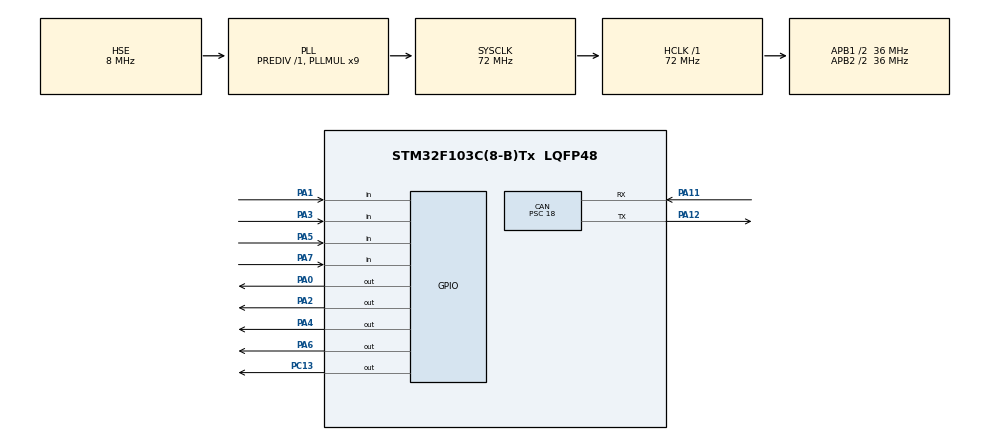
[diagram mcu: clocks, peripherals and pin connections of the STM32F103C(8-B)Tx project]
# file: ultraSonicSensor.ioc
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CAN.BS1=CAN_BS1_2TQ
CAN.CalculateBaudRate=500000
CAN.CalculateTimeBit=2000
CAN.CalculateTimeQuantum=500.0
CAN.Prescaler=18
Mcu.Family=STM32F1
Mcu.Name=STM32F103C(8-B)Tx
Mcu.Package=LQFP48
NVIC.CAN1_RX1_IRQn=true\:0\:0\:false\:false\:true\:true\:true\:true
NVIC.PriorityGroup=NVIC_PRIORITYGROUP_4
NVIC.USB_LP_CAN1_RX0_IRQn=true\:0\:0\:false\:false\:true\:true\:true\:true
PA0-WKUP.GPIO_PuPd=GPIO_NOPULL
PA0-WKUP.GPIO_Speed=GPIO_SPEED_FREQ_HIGH
PA0-WKUP.Signal=GPIO_Output
PA1.GPIO_PuPd=GPIO_NOPULL
PA1.Signal=GPIO_Input
PA11.Mode=CAN_Activate
PA11.Signal=CAN_RX
PA12.Mode=CAN_Activate
PA12.Signal=CAN_TX
PA13.Mode=Serial_Wire
PA13.Signal=SYS_JTMS-SWDIO
PA14.Mode=Serial_Wire
PA14.Signal=SYS_JTCK-SWCLK
PA2.GPIO_Speed=GPIO_SPEED_FREQ_HIGH
PA2.Signal=GPIO_Output
PA3.Signal=GPIO_Input
PA4.GPIO_Speed=GPIO_SPEED_FREQ_HIGH
PA4.Signal=GPIO_Output
PA5.Signal=GPIO_Input
PA6.GPIO_Speed=GPIO_SPEED_FREQ_HIGH
PA6.Signal=GPIO_Output
PA7.Signal=GPIO_Input
PC13-TAMPER-RTC.GPIO_PuPd=GPIO_PULLDOWN
PC13-TAMPER-RTC.Signal=GPIO_Output
PC14-OSC32_IN.Mode=LSE-External-Oscillator
PC14-OSC32_IN.Signal=RCC_OSC32_IN
PC15-OSC32_OUT.Mode=LSE-External-Oscillator
PC15-OSC32_OUT.Signal=RCC_OSC32_OUT
PD0-OSC_IN.Mode=HSE-External-Oscillator
PD0-OSC_IN.Signal=RCC_OSC_IN
PD1-OSC_OUT.Mode=HSE-External-Oscillator
PD1-OSC_OUT.Signal=RCC_OSC_OUT
ProjectManager.HeapSize=0x200
ProjectManager.StackSize=0x400
ProjectManager.TargetToolchain=MDK-ARM V5.32
RCC.AHBFreq_Value=72000000
RCC.APB1CLKDivider=RCC_HCLK_DIV2
RCC.APB1Freq_Value=36000000
RCC.APB1TimFreq_Value=72000000
RCC.APB2CLKDivider=RCC_HCLK_DIV2
RCC.APB2Freq_Value=36000000
RCC.APB2TimFreq_Value=72000000
RCC.HCLKFreq_Value=72000000
RCC.PLLMUL=RCC_PLL_MUL9
RCC.PLLSourceVirtual=RCC_PLLSOURCE_HSE
RCC.SYSCLKFreq_VALUE=72000000
RCC.SYSCLKSource=RCC_SYSCLKSOURCE_PLLCLK
RCC.USBFreq_Value=72000000
TIM1.Prescaler=71
VP_TIM1_VS_ClockSourceINT.Mode=Internal
board=custom

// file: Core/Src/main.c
/* USER CODE BEGIN Header */
/**
  ******************************************************************************
  * @file           : main.c
  * @brief          : Main program body
  ******************************************************************************
  * @attention
  *
  * Copyright (c) 2023 STMicroelectronics.
  * All rights reserved.
  *
  * This software is licensed under terms that can be found in the LICENSE file
  * in the root directory of this software component.
  * If no LICENSE file comes with this software, it is provided AS-IS.
  *
  ******************************************************************************
  */
/* USER CODE END Header */
#include "main.h"

/* USER CODE BEGIN Includes */
#include "SR04.h"
#include "convert_lib.h"
/* USER CODE END Includes */

/* USER CODE BEGIN PTD */
SR04_Name SR04_1;
SR04_Name SR04_2;
SR04_Name SR04_3;
SR04_Name SR04_4;
/* USER CODE END PTD */

/* USER CODE BEGIN PD */
#define MASTER_ID      			0x281
#define BACK_WHEEL_ID   		0x012
#define FRONT_WHEEL_ID   		0x274
#define BRAKE_ID      			0x222
#define ULTRASONIC_ID       0x112
/* USER CODE END PD */

CAN_HandleTypeDef hcan;

TIM_HandleTypeDef htim1;

/* USER CODE BEGIN PV */
// CAN protocol variable
CAN_HandleTypeDef     CanHandle;
CAN_TxHeaderTypeDef   TxHeader;
CAN_RxHeaderTypeDef   RxHeader;
uint8_t               TxData[8];
uint8_t               RxData[8];
uint32_t              TxMailbox;

// DETECT VARIABLE

/* USER CODE END PV */

void SystemClock_Config(void);
static void MX_GPIO_Init(void);
static void MX_TIM1_Init(void);
static void MX_CAN_Init(void);
/* USER CODE BEGIN PFP */
void WriteCAN(uint16_t ID,uint8_t *data);
void HAL_CAN_RxFifo0MsgPendingCallback(CAN_HandleTypeDef *hcan);
/* USER CODE END PFP */

int main(void)
{

  /* MCU Configuration--------------------------------------------------------*/

  /* Reset of all peripherals, Initializes the Flash interface and the Systick. */
  HAL_Init();

  /* Configure the system clock */
  SystemClock_Config();

  /* Initialize all configured peripherals */
  MX_GPIO_Init();
  MX_TIM1_Init();
  MX_CAN_Init();
  /* USER CODE BEGIN 2 */
	Init_SR04x(&SR04_1,&htim1,TIM1, GPIOA, GPIO_PIN_0, GPIOA, GPIO_PIN_1);
	Init_SR04x(&SR04_2,&htim1,TIM1, GPIOA, GPIO_PIN_2, GPIOA, GPIO_PIN_3);
	Init_SR04x(&SR04_3,&htim1,TIM1, GPIOA, GPIO_PIN_4, GPIOA, GPIO_PIN_5);
	Init_SR04x(&SR04_4,&htim1,TIM1, GPIOA, GPIO_PIN_6, GPIOA, GPIO_PIN_7);

	HAL_CAN_Start(&hcan);
	HAL_CAN_ActivateNotification(&hcan, CAN_IT_RX_FIFO0_MSG_PENDING);

  TxHeader.DLC = 8;
  TxHeader.ExtId = 0;
  TxHeader.IDE = CAN_ID_STD;
  TxHeader.RTR = CAN_RTR_DATA;
  TxHeader.TransmitGlobalTime = DISABLE;

  /* USER CODE END 2 */

  /* Infinite loop */
  /* USER CODE BEGIN WHILE */
  while (1)
  {
		// doc 2 cam bien ben trai
		uint16_t left = readDistance(&SR04_1, 5);// doc cam ben ngoai cung ben trai
		uint16_t leftCenter = readDistance(&SR04_2, 5);// doc cam bien o giua ben trai
		convertUint16_tTo8byte(left, TxData, 6, 7);
		convertUint16_tTo8byte(leftCenter, TxData, 4, 5);
		TxData[3] = 'L';
		WriteCAN(MASTER_ID, TxData);//gui du lieu len Controller

		// doc 2 cam bien ben phai
		uint16_t right = readDistance(&SR04_3, 5);//doc cam bien ngoai cung ben phai
		uint16_t rightCenter = readDistance(&SR04_4, 5);// doc cam bien o giua ben phai
		convertUint16_tTo8byte(right, TxData, 6, 7);
		convertUint16_tTo8byte(rightCenter, TxData, 4, 5);
		TxData[3] = 'R';
		WriteCAN(MASTER_ID, TxData);//gui du lieu len Controller

    /* USER CODE END WHILE */

  }
}

void SystemClock_Config(void)
{
  RCC_OscInitTypeDef RCC_OscInitStruct = {0};
  RCC_ClkInitTypeDef RCC_ClkInitStruct = {0};

  /** Initializes the RCC Oscillators according to the specified parameters
  * in the RCC_OscInitTypeDef structure.
  */
  RCC_OscInitStruct.OscillatorType = RCC_OSCILLATORTYPE_HSE;
  RCC_OscInitStruct.HSEState = RCC_HSE_ON;
  RCC_OscInitStruct.HSEPredivValue = RCC_HSE_PREDIV_DIV1;
  RCC_OscInitStruct.HSIState = RCC_HSI_ON;
  RCC_OscInitStruct.PLL.PLLState = RCC_PLL_ON;
  RCC_OscInitStruct.PLL.PLLSource = RCC_PLLSOURCE_HSE;
  RCC_OscInitStruct.PLL.PLLMUL = RCC_PLL_MUL9;
  if (HAL_RCC_OscConfig(&RCC_OscInitStruct) != HAL_OK)
  {
    Error_Handler();
  }

  /** Initializes the CPU, AHB and APB buses clocks
  */
  RCC_ClkInitStruct.ClockType = RCC_CLOCKTYPE_HCLK|RCC_CLOCKTYPE_SYSCLK
                              |RCC_CLOCKTYPE_PCLK1|RCC_CLOCKTYPE_PCLK2;
  RCC_ClkInitStruct.SYSCLKSource = RCC_SYSCLKSOURCE_PLLCLK;
  RCC_ClkInitStruct.AHBCLKDivider = RCC_SYSCLK_DIV1;
  RCC_ClkInitStruct.APB1CLKDivider = RCC_HCLK_DIV2;
  RCC_ClkInitStruct.APB2CLKDivider = RCC_HCLK_DIV2;

  if (HAL_RCC_ClockConfig(&RCC_ClkInitStruct, FLASH_LATENCY_2) != HAL_OK)
  {
    Error_Handler();
  }
}

static void MX_CAN_Init(void)
{

  hcan.Instance = CAN1;
  hcan.Init.Prescaler = 18;
  hcan.Init.Mode = CAN_MODE_NORMAL;
  hcan.Init.SyncJumpWidth = CAN_SJW_1TQ;
  hcan.Init.TimeSeg1 = CAN_BS1_2TQ;
  hcan.Init.TimeSeg2 = CAN_BS2_1TQ;
  hcan.Init.TimeTriggeredMode = DISABLE;
  hcan.Init.AutoBusOff = DISABLE;
  hcan.Init.AutoWakeUp = DISABLE;
  hcan.Init.AutoRetransmission = DISABLE;
  hcan.Init.ReceiveFifoLocked = DISABLE;
  hcan.Init.TransmitFifoPriority = DISABLE;
  if (HAL_CAN_Init(&hcan) != HAL_OK)
  {
    Error_Handler();
  }
  /* USER CODE BEGIN CAN_Init 2 */

	CAN_FilterTypeDef canfilterconfig;

  canfilterconfig.FilterActivation = CAN_FILTER_ENABLE;
  canfilterconfig.FilterBank = 10;
  canfilterconfig.FilterFIFOAssignment = CAN_RX_FIFO0;
  canfilterconfig.FilterIdHigh = 0x0000;
  canfilterconfig.FilterIdLow = 0x0000;
  canfilterconfig.FilterMaskIdHigh = 0x0000;
  canfilterconfig.FilterMaskIdLow = 0x0000;
  canfilterconfig.FilterMode = CAN_FILTERMODE_IDMASK;
  canfilterconfig.FilterScale = CAN_FILTERSCALE_32BIT;
  canfilterconfig.SlaveStartFilterBank = 13;

  HAL_CAN_ConfigFilter(&hcan, &canfilterconfig);

  /* USER CODE END CAN_Init 2 */

}

static void MX_TIM1_Init(void)
{

  TIM_ClockConfigTypeDef sClockSourceConfig = {0};
  TIM_MasterConfigTypeDef sMasterConfig = {0};

  htim1.Instance = TIM1;
  htim1.Init.Prescaler = 71;
  htim1.Init.CounterMode = TIM_COUNTERMODE_UP;
  htim1.Init.Period = 65535;
  htim1.Init.ClockDivision = TIM_CLOCKDIVISION_DIV1;
  htim1.Init.RepetitionCounter = 0;
  htim1.Init.AutoReloadPreload = TIM_AUTORELOAD_PRELOAD_DISABLE;
  if (HAL_TIM_Base_Init(&htim1) != HAL_OK)
  {
    Error_Handler();
  }
  sClockSourceConfig.ClockSource = TIM_CLOCKSOURCE_INTERNAL;
  if (HAL_TIM_ConfigClockSource(&htim1, &sClockSourceConfig) != HAL_OK)
  {
    Error_Handler();
  }
  sMasterConfig.MasterOutputTrigger = TIM_TRGO_RESET;
  sMasterConfig.MasterSlaveMode = TIM_MASTERSLAVEMODE_DISABLE;
  if (HAL_TIMEx_MasterConfigSynchronization(&htim1, &sMasterConfig) != HAL_OK)
  {
    Error_Handler();
  }

}

static void MX_GPIO_Init(void)
{
  GPIO_InitTypeDef GPIO_InitStruct = {0};

  /* GPIO Ports Clock Enable */
  __HAL_RCC_GPIOC_CLK_ENABLE();
  __HAL_RCC_GPIOD_CLK_ENABLE();
  __HAL_RCC_GPIOA_CLK_ENABLE();

  /*Configure GPIO pin Output Level */
  HAL_GPIO_WritePin(GPIOC, GPIO_PIN_13, GPIO_PIN_RESET);

  /*Configure GPIO pin Output Level */
  HAL_GPIO_WritePin(GPIOA, GPIO_PIN_0|GPIO_PIN_2|GPIO_PIN_4|GPIO_PIN_6, GPIO_PIN_RESET);

  /*Configure GPIO pin : PC13 */
  GPIO_InitStruct.Pin = GPIO_PIN_13;
  GPIO_InitStruct.Mode = GPIO_MODE_OUTPUT_PP;
  GPIO_InitStruct.Pull = GPIO_PULLDOWN;
  GPIO_InitStruct.Speed = GPIO_SPEED_FREQ_LOW;
  HAL_GPIO_Init(GPIOC, &GPIO_InitStruct);

  /*Configure GPIO pins : PA0 PA2 PA4 PA6 */
  GPIO_InitStruct.Pin = GPIO_PIN_0|GPIO_PIN_2|GPIO_PIN_4|GPIO_PIN_6;
  GPIO_InitStruct.Mode = GPIO_MODE_OUTPUT_PP;
  GPIO_InitStruct.Pull = GPIO_NOPULL;
  GPIO_InitStruct.Speed = GPIO_SPEED_FREQ_HIGH;
  HAL_GPIO_Init(GPIOA, &GPIO_InitStruct);

  /*Configure GPIO pins : PA1 PA3 PA5 PA7 */
  GPIO_InitStruct.Pin = GPIO_PIN_1|GPIO_PIN_3|GPIO_PIN_5|GPIO_PIN_7;
  GPIO_InitStruct.Mode = GPIO_MODE_INPUT;
  GPIO_InitStruct.Pull = GPIO_NOPULL;
  HAL_GPIO_Init(GPIOA, &GPIO_InitStruct);

}

/* USER CODE BEGIN 4 */
void WriteCAN(uint16_t ID,uint8_t *data)
{
	uint8_t dataOut[8];
	TxHeader.StdId = ID;
	dataOut[0] = data[0];
	dataOut[1] = data[1];
	dataOut[2] = data[2];
	dataOut[3] = data[3];
	dataOut[4] = data[4];
	dataOut[5] = data[5];
	dataOut[6] = data[6];
	dataOut[7] = data[7];
	HAL_CAN_AddTxMessage(&hcan, &TxHeader, dataOut, &TxMailbox);

}
void HAL_CAN_RxFifo0MsgPendingCallback(CAN_HandleTypeDef *hcan)
{
	if(HAL_CAN_GetRxMessage(hcan, CAN_RX_FIFO0, &RxHeader, RxData)== HAL_OK)
	{
		if(RxHeader.StdId==MASTER_ID)
		{
			HAL_GPIO_TogglePin(GPIOC,GPIO_PIN_13);
		}
	}

}
/* USER CODE END 4 */

void Error_Handler(void)
{
  __disable_irq();
  while (1)
  {
  }
}
